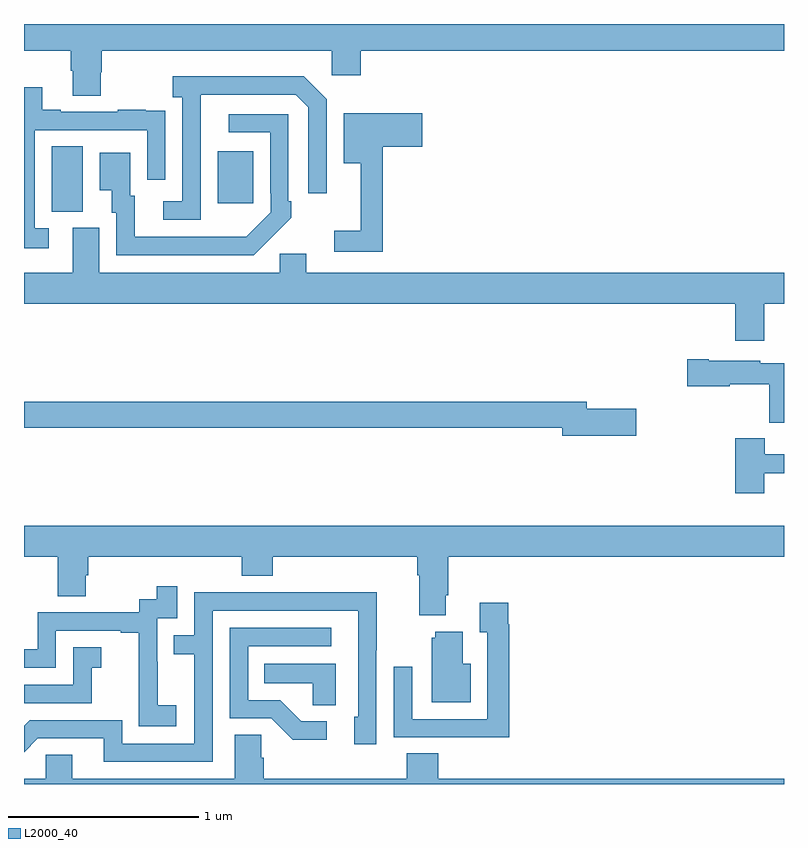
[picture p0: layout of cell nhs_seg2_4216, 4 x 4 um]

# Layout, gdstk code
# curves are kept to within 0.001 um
import gdstk
lib = gdstk.Library(unit=1e-6, precision=1e-09)
def R(c, l, rs):  # rectangles x0, y0, x1, y1
    for r in rs: c.add(gdstk.rectangle(r[:2], r[2:], *l))
def P(c, l, *ps):  # polygons
    for p in ps: c.add(gdstk.Polygon(p, *l))
L2000_40 = (2000, 40)

nhs_seg2_4216 = lib.new_cell('nhs_seg2_4216')
R(nhs_seg2_4216, L2000_40, [(339.146,622.813,339.31,623.156), (340.019,622.857,340.207,623.131)])
P(nhs_seg2_4216, L2000_40, [(339.405,623.547),(339.41,623.547),(339.41,623.66),(340.62,623.66),(340.62,623.529),(340.772,623.529),(340.772,623.66),(343,623.66),(343,623.8),(339,623.8),(339,623.66),(339.245,623.66),(339.245,623.554),(339.257,623.554),(339.257,623.422),(339.405,623.422)],
  [(339.93,623.227),(339.931,623.427),(340.431,623.427),(340.497,623.361),(340.497,622.908),(340.593,622.908),(340.593,623.403),(340.472,623.524),(339.783,623.524),(339.783,623.414),(339.834,623.414),(339.834,622.866),(339.732,622.866),(339.732,622.77),(339.93,622.77)],
  [(339.13,622.725),(339.057,622.725),(339.057,623.241),(339.648,623.241),(339.648,622.98),(339.744,622.98),(339.744,623.234),(339.743,623.234),(339.743,623.343),(339.641,623.343),(339.641,623.35),(339.493,623.35),(339.493,623.337),(339.193,623.337),(339.193,623.35),(339.097,623.35),(339.097,623.467),(339,623.467),(339,622.62),(339.13,622.62)],
  [(340.889,623.153),(341.095,623.153),(341.095,623.331),(340.682,623.331),(340.682,623.066),(340.772,623.066),(340.772,622.711),(340.632,622.711),(340.632,622.602),(340.889,622.602)],
  [(340.301,622.675),(340.302,622.674),(340.407,622.779),(340.407,622.867),(340.392,622.867),(340.392,623.325),(340.077,623.325),(340.077,623.229),(340.296,623.229),(340.296,622.909),(340.299,622.909),(340.299,622.809),(340.171,622.681),(339.583,622.68),(339.583,622.896),(339.559,622.896),(339.559,623.122),(339.398,623.122),(339.398,622.925),(339.461,622.925),(339.461,622.806),(339.486,622.806),(339.486,622.584),(340.21,622.584)],
  [(342.895,622.328),(343,622.328),(343,622.492),(340.486,622.492),(340.486,622.59),(340.347,622.59),(340.347,622.492),(339.397,622.492),(339.397,622.728),(339.257,622.728),(339.257,622.492),(339,622.492),(339,622.328),(342.743,622.328),(342.743,622.134),(342.895,622.134)],
  [(343,622.015),(342.876,622.015),(342.876,622.027),(342.604,622.027),(342.604,622.035),(342.492,622.035),(342.492,621.893),(342.714,621.893),(342.714,621.905),(342.922,621.905),(342.922,621.701),(343,621.701)],
  [(342.223,621.776),(341.962,621.776),(341.962,621.812),(339,621.812),(339,621.676),(341.834,621.676),(341.834,621.634),(342.223,621.634)],
  [(342.895,621.435),(343,621.435),(343,621.535),(342.898,621.535),(342.898,621.619),(342.743,621.619),(342.743,621.33),(342.895,621.33)],
  [(341.221,620.794),(341.234,620.794),(341.234,620.996),(343,620.996),(343,621.16),(339,621.16),(339,620.996),(339.178,620.996),(339.178,620.788),(339.325,620.788),(339.325,620.898),(339.338,620.898),(339.338,620.996),(340.145,620.996),(340.145,620.897),(340.31,620.897),(340.31,620.996),(341.069,620.996),(341.069,620.9),(341.081,620.9),(341.081,620.687),(341.221,620.687)],
  [(339.802,620.215),(339.704,620.215),(339.704,620.444),(339.702,620.444),(339.702,620.673),(339.807,620.673),(339.807,620.842),(339.699,620.842),(339.699,620.772),(339.606,620.772),(339.606,620.703),(339.072,620.703),(339.072,620.508),(339,620.508),(339,620.412),(339.168,620.412),(339.168,620.607),(339.509,620.607),(339.509,620.595),(339.605,620.595),(339.605,620.311),(339.604,620.311),(339.604,620.105),(339.802,620.105)],
  [(339.993,620.712),(340.758,620.712),(340.758,620.154),(340.739,620.154),(340.739,620.01),(340.854,620.01),(340.854,620.503),(340.857,620.503),(340.857,620.81),(340.393,620.81),(340.393,620.808),(339.897,620.808),(339.897,620.583),(339.787,620.583),(339.787,620.482),(339.897,620.482),(339.897,620.013),(339.516,620.013),(339.516,620.136),(339.03,620.136),(339,620.106),(339,619.968),(339.072,620.04),(339.419,620.04),(339.419,619.917),(339.993,619.917)],
  [(341.555,620.642),(341.548,620.642),(341.548,620.755),(341.399,620.755),(341.399,620.599),(341.439,620.599),(341.439,620.142),(341.043,620.142),(341.043,620.416),(340.947,620.416),(340.947,620.046),(341.263,620.046),(341.263,620.045),(341.555,620.045)],
  [(340.594,620.13),(340.459,620.13),(340.348,620.241),(340.179,620.241),(340.179,620.526),(340.618,620.526),(340.618,620.622),(340.083,620.622),(340.083,620.145),(340.302,620.145),(340.415,620.033),(340.594,620.033)],
  [(341.35,620.434),(341.308,620.434),(341.308,620.602),(341.165,620.602),(341.165,620.571),(341.147,620.571),(341.147,620.231),(341.35,620.231)],
  [(339.357,620.411),(339.406,620.411),(339.406,620.521),(339.258,620.521),(339.258,620.322),(339,620.322),(339,620.226),(339.357,620.226)],
  [(340.642,620.434),(340.264,620.434),(340.264,620.33),(340.521,620.33),(340.521,620.215),(340.642,620.215)],
  [(343,619.828),(341.18,619.828),(341.18,619.961),(341.015,619.961),(341.015,619.828),(340.262,619.828),(340.262,619.937),(340.248,619.937),(340.248,620.06),(340.109,620.06),(340.109,619.828),(339.253,619.828),(339.253,619.955),(339.114,619.955),(339.114,619.828),(339,619.828),(339,619.8),(343,619.8)])

lib.write_gds('nhs_seg2_4216.gds')
